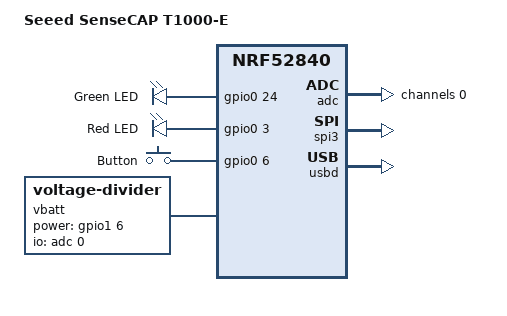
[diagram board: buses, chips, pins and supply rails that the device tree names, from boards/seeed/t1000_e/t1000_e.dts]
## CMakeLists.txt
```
# The nRF52840 port, built with Zephyr: the node every port shares (../node), the portable core
# from the top of the repository, and what is Zephyr's here (src/). See README.md:
#
#   west build -b heltec_t114_v2/nrf52840/uf2 ports/nrf52
cmake_minimum_required(VERSION 3.20.0)
# Boards Zephyr has not got are this port's own, in boards/<vendor>/<board>/ (the T1000-E).
list(APPEND BOARD_ROOT ${CMAKE_CURRENT_SOURCE_DIR})
find_package(Zephyr REQUIRED HINTS $ENV{ZEPHYR_BASE})
project(tern-nrf52 C)

set(root ${CMAKE_CURRENT_SOURCE_DIR}/../..)
set(node ${root}/ports/node)

# The core, file by file, as the top-level CMakeLists.txt lists it.
file(GLOB core ${root}/src/*.c)

target_sources(app PRIVATE
    src/platform.c
    src/board.c
    src/ble.c
    ${node}/node.c
    ${node}/link.c
    ${node}/demo.c
    ${node}/display.c
    ${node}/status.c
    ${node}/ui.c
    ${node}/scene.c
    ${node}/colour.c
    ${node}/fonts.c
    ${node}/qr.c
    ${node}/power.c
    ${node}/crumb.c
    ${node}/doze.c
    ${core})
target_include_directories(app PRIVATE src ${node} ${root}/include)
# The T114's colour panel is drawn by the node itself (../node/colour.h).
target_compile_definitions(app PRIVATE TERN_COLOUR=1)
# Zephyr's adc_read() waits for the SAADC's interrupt with no limit, so one that never comes stops
# the node's loop: a T1000-E's did, overnight, in poll_battery (the watchdog brought it back). A
# reading takes well under a millisecond; this lets it fail after 100 ms instead (board.c).
zephyr_compile_definitions("ADC_CONTEXT_WAIT_FOR_COMPLETION_TIMEOUT=K_MSEC(100)")
# Warnings as the rest of the repository has them, on what is ours (not Zephyr's headers' doing).
target_compile_options(app PRIVATE -Wextra -Wshadow -Wno-unused-parameter -Werror)
```

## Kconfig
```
# The settings a Tern node is built with: those every port shares (../node/Kconfig.tern), and the
# board's names, from the Zephyr board the build is for (release.sh). Everything else about a board
# is its devicetree (src/board.c, boards/).

menu "Tern demo"

    config TERN_BOARD_NAME
        string
        default "heltec-t114" if BOARD_HELTEC_T114_V2
        default "rak4631" if BOARD_RAK4631
        default "wio-tracker-l1" if BOARD_WIO_TRACKER_L1
        default "t1000-e" if BOARD_T1000_E
        help
            The name a client finds an image by: tern-<name>-<region>-<version>.

    config TERN_BOARD_TITLE
        string
        default "Heltec Mesh Node T114" if BOARD_HELTEC_T114_V2
        default "RAKwireless RAK4631" if BOARD_RAK4631
        default "Seeed Wio Tracker L1" if BOARD_WIO_TRACKER_L1
        default "Seeed SenseCAP T1000-E" if BOARD_T1000_E
        help
            The board's name, as its maker sells it.

    config TERN_BUTTON_NAME
        string
        default "USER" if BOARD_HELTEC_T114_V2
        default "KEY" if BOARD_T1000_E
        default "PRG"
        help
            What the board's button is marked, as its user looks for it, at most four
            characters. A board with no button (sw0) has none, whatever this says.

    config TERN_TCXO_MV
        int "The radio's TCXO voltage, in millivolts (0: the board's)"
        default 0
        help
            For trying a board whose TCXO voltage its maker's documents disagree on, such as the
            T1000-E's: the voltage the radio gives its TCXO, 1600, 1700, 1800, 2200, 2400, 2700,
            3000 or 3300, in place of what the board's devicetree says. 0 keeps the
            devicetree's. A voltage above what the TCXO is rated for can harm it, so try the
            lowest first.

    rsource "../node/Kconfig.tern"

endmenu

source "Kconfig.zephyr"
```

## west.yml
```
# The Zephyr this port builds against, and only the modules it needs. With the repository checked
# out as `firmware` in an empty directory:
#
#   west init -l --mf ports/nrf52/west.yml firmware
#   west update
#
# Zephyr is a commit on main, not a release: the Heltec T114 V2's board came after v4.4's branch.
# It moves to v4.5 once that is released.
manifest:
  remotes:
    - name: zephyrproject-rtos
      url-base: https://github.com/zephyrproject-rtos
  projects:
    - name: zephyr
      remote: zephyrproject-rtos
      revision: 64437be51c302e42003b3b1dcbf45c8ad7fd1f08
      import:
        name-allowlist:
          - cmsis_6
          - hal_nordic
          - mbedtls
          - tf-psa-crypto
  self:
    path: firmware
```

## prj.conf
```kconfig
# What the node needs of Zephyr on an nRF52840.

# The node's loop runs in main(): a handshake's arithmetic needs more stack than most
# (tern/contact.h), and 'selftest' says how much is left.
CONFIG_MAIN_STACK_SIZE=16384
CONFIG_THREAD_STACK_INFO=y
CONFIG_INIT_STACKS=y
CONFIG_SPEED_OPTIMIZATIONS=y
CONFIG_PICOLIBC_IO_LONG_LONG=y

# The board: the radio's SPI bus and lines, the screen, the battery's ADC.
CONFIG_GPIO=y
CONFIG_SPI=y
CONFIG_ADC=y
CONFIG_DISPLAY=y
CONFIG_LORA=n

# The console, and the companion link a computer drives over it, are USB CDC ACM (the board's
# default). Nothing else writes to it: Zephyr's own log would land in the companion's stream.
CONFIG_SERIAL=y
CONFIG_UART_LINE_CTRL=y
CONFIG_LOG=n

# What the node saves: Zephyr's settings, on NVS, in the storage partition.
CONFIG_FLASH=y
CONFIG_FLASH_MAP=y
CONFIG_FLASH_PAGE_LAYOUT=y
CONFIG_NVS=y
CONFIG_SETTINGS=y
CONFIG_SETTINGS_NVS=y

# Keys from the chip's true generator.
CONFIG_ENTROPY_GENERATOR=y

CONFIG_REBOOT=y

# The chip's watchdog on the node's loop (src/platform.c): a loop that stops restarts the board.
CONFIG_WATCHDOG=y
CONFIG_POWEROFF=y

# The companion link over Bluetooth LE (src/ble.c): one peripheral connection, frames of up to 180
# bytes in one notification, and only LE Secure Connections pairing with a passkey the node shows,
# its bonds kept in the settings.
CONFIG_BT=y
CONFIG_BT_PERIPHERAL=y
CONFIG_BT_DEVICE_NAME="Tern"
CONFIG_BT_DEVICE_NAME_DYNAMIC=y
# A card's name cut to what a scan response holds (ble.h's BLE_NAME_MAX).
CONFIG_BT_DEVICE_NAME_MAX=29
CONFIG_BT_MAX_CONN=1
CONFIG_BT_MAX_PAIRED=8
CONFIG_BT_SMP=y
CONFIG_BT_SMP_SC_ONLY=y
CONFIG_BT_BONDABLE=y
CONFIG_BT_APP_PASSKEY=y
CONFIG_BT_SETTINGS=y
CONFIG_BT_L2CAP_TX_MTU=247
CONFIG_BT_BUF_ACL_RX_SIZE=251
CONFIG_BT_BUF_ACL_TX_SIZE=251
CONFIG_BT_BUF_ACL_TX_COUNT=10
CONFIG_BT_BUF_EVT_RX_COUNT=12
CONFIG_BT_CTLR_DATA_LENGTH_MAX=251
CONFIG_BT_ATT_PREPARE_COUNT=0
# The thread that takes what the controller hears finishes a pairing, and LE Secure Connections'
# keys are worked out there with PSA's crypto: up to 1344 bytes of stack on a T114, measured, where
# Zephyr gives it 1200. With that, every pairing overflowed it and the board stopped dead.
CONFIG_BT_RX_STACK_SIZE=2048

# A relay's table of RELAY_PLACES destinations (the specification's routing draft): 48 KB of the
# nRF52840's 256. Built with it, the RAK4631 uses 204 KB (78%).
CONFIG_TERN_DESTINATIONS=1024

# The sessions, contacts, groups and cards it holds (ports/node/capacity.h): about 20 KB of RAM
# more than the smallest board's, and what its 32 KB storage partition keeps beside the messages.
CONFIG_TERN_SESSIONS=16
CONFIG_TERN_CONTACTS=32
CONFIG_TERN_GROUPS=8
CONFIG_TERN_CARDS=64
# How messages went, for the latest 32 (ROUTE): 640 bytes.
CONFIG_TERN_ROUTES=32
```

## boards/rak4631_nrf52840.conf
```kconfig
# The RAK4631's UF2 bootloader takes an image at the code partition the overlay lays out, and its
# console is USB CDC ACM, as on the boards whose Zephyr board says so itself.
CONFIG_BUILD_OUTPUT_UF2=y
CONFIG_USE_DT_CODE_PARTITION=y
CONFIG_USB_DEVICE_STACK_NEXT=y
CONFIG_USBD_CDC_ACM_CLASS=y
CONFIG_CDC_ACM_SERIAL_INITIALIZE_AT_BOOT=y
CONFIG_UART_CONSOLE=y
CONFIG_USE_SEGGER_RTT=n
```

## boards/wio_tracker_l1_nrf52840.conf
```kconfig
# The Wio Tracker L1's screen is on I2C.
CONFIG_I2C=y
```

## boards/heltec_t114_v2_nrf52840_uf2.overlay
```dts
/*
 * The T114 for this port. Its radio is driven by Tern's own SX1262 driver (src/sx126x.c), over
 * the bus and lines Zephyr's board gives it, so Zephyr's LoRa driver is not built. Its screen is
 * initialised once board_screen_init() has powered it (TFT_EN), not at boot.
 */

/ {
	/* The board's switches for the screen, its backlight, Vext and the battery's divider have
	 * no binding of their own; this one's makes their lines readable as GPIOs. No LED driver is
	 * built, so nothing else takes them. */
	board_controls {
		compatible = "gpio-leds";
	};

	/* The battery through 390k over 100k onto AIN2, behind a switch P0.06 turns on (Heltec's
	 * schematic, MeshNode-T114_V2.1), which Zephyr's board gives only as adc-control. */
	vbatt: vbatt {
		compatible = "voltage-divider";
		io-channels = <&adc 2>;
		output-ohms = <100000>;
		full-ohms = <490000>;
		power-gpios = <&gpio0 6 GPIO_ACTIVE_HIGH>;
	};
};

&lora {
	status = "disabled";
	/* The datasheet's 16 MHz, halved, as on the ESP32 boards. */
	spi-max-frequency = <8000000>;
};

&tft_display {
	zephyr,deferred-init;
};
```

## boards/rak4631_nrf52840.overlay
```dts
/*
 * The RAKwireless RAK4631, on a RAK19007 or RAK19003 base board, for this port. Zephyr's board for
 * it is laid out for MCUboot over SWD; the RAK4631 ships with Adafruit's UF2 bootloader over
 * SoftDevice S140 6.1.1 (RAKWireless/WisBlock, bootloader/RAK4630), so this lays the image out
 * for that, at 0x26000, with its console on USB. Where RAK's documents and Zephyr's board differ,
 * RAK's are taken:
 *
 *  - The antenna switch is powered from P1.05 (RAK4631 datasheet, "ANT_SW P1.05 - SX1262 RF switch
 *    power"; RAK's own Zephyr overlay drives it high), and DIO2 switches it between sending and
 *    receiving: on while the radio is, rather than Zephyr's rx-enable, low.
 *  - Its TCXO is set to 1.8 V from DIO3, as RAK's own patch for the board sets it
 *    (RAK4630-Amazon-Sidewalk-Example); the SX1262 runs from 3.3 V, below which DIO3 must be.
 *  - Its LEDs, green on P1.03 and blue on P1.04, light when high (RAK's bootloader, board.h,
 *    LED_STATE_ON 1).
 *
 * The base boards have no user button, only RESET. The battery is on WisBlock's AIN0, P0.05/AIN3,
 * through 1M over 1.5M with no switch (RAK4631 datasheet's schematic; Zephyr's RAK19007 shield).
 * Its radio is driven by Tern's own SX1262 driver (src/sx126x.c), so Zephyr's LoRa driver is not
 * built.
 */

/* Zephyr's board's MCUboot layout, out, and the UF2 bootloader's in. */
&flash0 {
	/delete-node/ partitions;
};

#include <nordic/nrf52840_partition_uf2_sdv6.dtsi>
#include <../boards/common/usb/cdc_acm_serial.dtsi>

&lora {
	status = "disabled";
	/delete-property/ rx-enable-gpios;
	antenna-enable-gpios = <&gpio1 5 GPIO_ACTIVE_HIGH>;
	dio3-tcxo-voltage = <SX126X_DIO3_TCXO_1V8>;
};

&green_led {
	gpios = <&gpio1 3 GPIO_ACTIVE_HIGH>;
};

&blue_led {
	gpios = <&gpio1 4 GPIO_ACTIVE_HIGH>;
};

/ {
	aliases {
		led0 = &green_led;
	};

	vbatt: vbatt {
		compatible = "voltage-divider";
		io-channels = <&adc 3>;
		output-ohms = <1500000>;
		full-ohms = <2500000>;
	};
};

&adc {
	#address-cells = <1>;
	#size-cells = <0>;

	channel@3 {
		reg = <3>;
		zephyr,gain = "ADC_GAIN_1_6";
		zephyr,reference = "ADC_REF_INTERNAL";
		/* The divider is megohms: the longest acquisition the SAADC has, for its sampling
		 * capacitor to charge through them. */
		zephyr,acquisition-time = <ADC_ACQ_TIME(ADC_ACQ_TIME_MICROSECONDS, 40)>;
		zephyr,input-positive = <NRF_SAADC_AIN3>;
		zephyr,resolution = <12>;
	};
};
```

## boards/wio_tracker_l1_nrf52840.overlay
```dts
/*
 * The Seeed Wio Tracker L1 for this port, over Zephyr's board for it (wio_tracker_l1): its radio
 * is driven by Tern's own SX1262 driver (src/sx126x.c), so Zephyr's LoRa driver is not built.
 * Everything else the node uses is Zephyr's board as it is, which agrees with Seeed's schematic
 * (Wio_Tracker_L1_Pro_SCH, v1.3) where that says: the radio's lines; the menu button on P0.08 (sw0);
 * the LED on P1.01 (led0); the 128x64 screen at 0x3D on I2C (zephyr,display), an SH1106 by
 * Zephyr's board, which Seeed's documents do not name; and the battery through an even divider
 * onto AIN7, behind a switch P0.04 turns on (vbatt). The module's RF_SW line, P1.08, has no level
 * in Seeed's documents; it is driven as Zephyr's board has it, high while receiving.
 *
 * The L1 Lite is the same board without a screen, and runs this image without one.
 */

&lora {
	status = "disabled";
};
```

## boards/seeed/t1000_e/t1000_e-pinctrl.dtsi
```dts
/* The LR1110's SPI bus: SCK P0.11, MOSI P1.09, MISO P1.08 (Seeed's SDK, smtc_hal_config.h, and
 * its Arduino core's variant, which agree). */

&pinctrl {
	spi3_default: spi3_default {
		group1 {
			psels = <NRF_PSEL(SPIM_SCK, 0, 11)>,
				<NRF_PSEL(SPIM_MOSI, 1, 9)>,
				<NRF_PSEL(SPIM_MISO, 1, 8)>;
		};
	};

	spi3_sleep: spi3_sleep {
		group1 {
			psels = <NRF_PSEL(SPIM_SCK, 0, 11)>,
				<NRF_PSEL(SPIM_MOSI, 1, 9)>,
				<NRF_PSEL(SPIM_MISO, 1, 8)>;
			low-power-enable;
		};
	};
};
```

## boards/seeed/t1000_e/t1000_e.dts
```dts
/*
 * The Seeed SenseCAP T1000-E, a Zephyr board of this port's own, since Zephyr has none. Seeed
 * publishes no schematic; everything here is from two Seeed sources, which agree on every pin:
 *
 *   SDK   Seeed-Tracker-T1000-E-for-LoRaWAN-dev-board: smtc_hal/inc/smtc_hal_config.h for the
 *         pins, t1000_e/LR11XX/smtc_shield_lr11xx/common/src/smtc_shield_lr11x0_common.c for the
 *         radio's antenna switch, TCXO and regulator, t1000_e/peripherals/src/sensor.c and
 *         smtc_hal/src/smtc_hal_adc.c for the battery
 *   core  Seeed's Adafruit_nRF52_Arduino, variants/Seeed_Tracker_T1000_E_LoRaWAN, and boards.txt
 *         for its bootloader
 *
 * The radio is an LR1110 on SPI (SCK P0.11, MOSI P1.09, MISO P1.08, NSS P0.12), with BUSY on
 * P0.07, NRESET on P1.10 and DIO9 on P1.01. It is driven by Tern's own driver (src/lr11xx.c), so
 * the node is disabled for Zephyr, which has no LR1110 driver anyway.
 *
 *  - Antenna switch: DIO5 to DIO8, as the SDK sets SetDioAsRfSwitch: DIO5 and DIO8 to receive,
 *    DIO5, DIO6 and DIO8 to send from the low-power amplifier, DIO6 and DIO8 from the high-power
 *    one, none in standby. DIO7 is the GNSS path's, held low here since that is not driven.
 *  - TCXO: 1.8 V from VTCXO. Seeed's three sources disagree: its wiki says 1.6 V, its Arduino core
 *    1.8 V, its SDK 3.0 V. 1.8 V was tried first, as the lower of the two from code, and settled it
 *    on a board (16 November 2026): first contact and messages both ways with a Heltec T114, each
 *    acknowledged the first time, at 10 to 14 dB SNR. CONFIG_TERN_TCXO_MV tries another (Kconfig).
 *  - The DC-DC regulator, and both amplifiers: the SDK's power table goes from -17 dBm on the
 *    low-power one to +22 dBm on the high-power one.
 *
 * The button is on P0.06, high when pressed ("must be configured as input_pulldown", core); the
 * LEDs, green P0.24 and red P0.03, light when high (core, LED_STATE_ON 1). The battery is on AIN0
 * (P0.02) through an even divider (the SDK doubles what it reads) that P1.06 powers, high on, with
 * the light and temperature sensors.
 *
 * Not driven yet: the AG3335 satellite receiver (UART P0.13/P0.14, power P1.11), the
 * accelerometer, the buzzer, and the QSPI flash.
 */

/dts-v1/;
#include <nordic/nrf52840_qiaa.dtsi>
#include <nordic/nrf52840_partition_uf2_sdv7.dtsi>
#include <zephyr/dt-bindings/input/input-event-codes.h>
#include "t1000_e-pinctrl.dtsi"

/ {
	model = "Seeed SenseCAP T1000-E";
	compatible = "seeed,t1000-e";

	aliases {
		led0 = &green_led;
		led1 = &red_led;
		sw0 = &button0;
	};

	leds {
		compatible = "gpio-leds";

		green_led: led_0 {
			gpios = <&gpio0 24 GPIO_ACTIVE_HIGH>;
			label = "Green LED";
		};

		red_led: led_1 {
			gpios = <&gpio0 3 GPIO_ACTIVE_HIGH>;
			label = "Red LED";
		};
	};

	buttons {
		compatible = "gpio-keys";

		button0: button_0 {
			gpios = <&gpio0 6 (GPIO_ACTIVE_HIGH | GPIO_PULL_DOWN)>;
			label = "Button";
			zephyr,code = <INPUT_KEY_0>;
		};
	};

	vbatt: vbatt {
		compatible = "voltage-divider";
		io-channels = <&adc 0>;
		/* Even, as the SDK reads it; its resistors are not published, only that ratio. */
		output-ohms = <1>;
		full-ohms = <2>;
		power-gpios = <&gpio1 6 GPIO_ACTIVE_HIGH>;
	};
};

&gpiote {
	status = "okay";
};

&gpio0 {
	status = "okay";
};

&gpio1 {
	status = "okay";
};

&adc {
	status = "okay";
	#address-cells = <1>;
	#size-cells = <0>;

	channel@0 {
		reg = <0>;
		/* As the SDK sets it: a gain of 1/5 on the 0.6 V reference, 3 V full scale, and 40 us to
		 * sample through the divider. */
		zephyr,gain = "ADC_GAIN_1_5";
		zephyr,reference = "ADC_REF_INTERNAL";
		zephyr,acquisition-time = <ADC_ACQ_TIME(ADC_ACQ_TIME_MICROSECONDS, 40)>;
		zephyr,input-positive = <NRF_SAADC_AIN0>;
		zephyr,resolution = <12>;
	};
};

&spi3 {
	compatible = "nordic,nrf-spim";
	status = "okay";
	cs-gpios = <&gpio0 12 GPIO_ACTIVE_LOW>;
	pinctrl-0 = <&spi3_default>;
	pinctrl-1 = <&spi3_sleep>;
	pinctrl-names = "default", "sleep";

	lora: lora@0 {
		compatible = "semtech,lr1110";
		status = "disabled";
		reg = <0>;
		spi-max-frequency = <DT_FREQ_M(8)>;
		reset-gpios = <&gpio1 10 GPIO_ACTIVE_LOW>;
		busy-gpios = <&gpio0 7 GPIO_ACTIVE_HIGH>;
		irq-gpios = <&gpio1 1 GPIO_ACTIVE_HIGH>;
		lf-clk = "XTAL";
		tcxo-voltage = <1800>;
		use-dcdc;
		hp-pa;
		/* Bits 0 to 3 are DIO5 to DIO8. */
		rfsw-enable = <0x0f>;
		rfsw-standby = <0x00>;
		rfsw-rx = <0x09>;
		rfsw-tx = <0x0b>;
		rfsw-tx-hp = <0x0a>;
	};
};

zephyr_udc0: &usbd {
	status = "okay";
};

#include <../boards/common/usb/cdc_acm_serial.dtsi>
```

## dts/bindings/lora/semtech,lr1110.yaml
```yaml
# The LR1110, as this port reads it (src/board.c): Zephyr's properties for the LR11xx family, which
# it has only for the LR1121, and whether the antenna is reached from the high-power amplifier.
# Zephyr has no driver for the LR1110; Tern's own (src/lr11xx.c) drives it.

title: Semtech LR1110 LoRa transceiver, with GNSS and Wi-Fi scanners

description: |
  Semtech LR1110. Only its sub-GHz LoRa modem is driven, by Tern's driver.

compatible: "semtech,lr1110"

include: semtech,lr11xx-base.yaml

properties:
  reset-gpios:
    required: true
  busy-gpios:
    required: true

  hp-pa:
    type: boolean
    description: |
      The antenna is reached from the high-power amplifier as well as the low-power one, so the
      radio sends from -17 to +22 dBm. Without it, only the low-power one: -17 to +14 dBm.
```

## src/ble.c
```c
#include "ble.h"

#include <stdio.h>
#include <string.h>

#include <zephyr/bluetooth/bluetooth.h>
#include <zephyr/bluetooth/conn.h>
#include <zephyr/bluetooth/gatt.h>
#include <zephyr/bluetooth/hci.h>
#include <zephyr/bluetooth/uuid.h>
#include <zephyr/kernel.h>
#include <zephyr/random/random.h>
#include <zephyr/settings/settings.h>

/* The companion link over Bluetooth LE on Zephyr's host and the nRF52840's controller: the same
 * service, pairing and frames as the ESP32's over NimBLE (../../esp32/main/ble.c), which
 * draft/companion.md, "Bluetooth LE", defines. Zephyr reports from its own threads; what it
 * reports is queued for the loop's ble_poll(), so link.c is only ever called from the loop. */

/* The draft's UUIDs, least significant byte first. */
#define TERN_UUID(n)                                                                               \
    BT_UUID_INIT_128(0x40, 0xff, 0x50, 0xdd, 0x41, 0x17, 0x9b, 0x88, 0x1c, 0x4c, 0x17, 0xeb, (n),  \
                     0x00, 0x28, 0x7a)

static const struct bt_uuid_128 service_uuid = TERN_UUID(0x01);
static const struct bt_uuid_128 to_node_uuid = TERN_UUID(0x02);
static const struct bt_uuid_128 from_node_uuid = TERN_UUID(0x03);

#define EVENTS 8
/* Frames waiting for a buffer: more than the largest sync (link.h). */
#define WAITING 128

K_MSGQ_DEFINE(events, sizeof(struct ble_event), EVENTS, 4);

/* The client's connection, taken and let go of in Zephyr's threads; the loop takes a reference of
 * its own under `conn_lock` before using it (connection()). */
static struct bt_conn *conn;
static struct k_spinlock conn_lock;
static volatile uint32_t gen;    /* counts connections; the present one's */
static volatile bool paired;     /* the client on `conn` paired with a passkey */
static volatile bool subscribed; /* and asked for notifications */
static volatile uint32_t passkey_setting;
static volatile uint32_t shown_passkey; /* this pairing's, if the node chose it */
static volatile bool pairable;          /* a passkey that is not shown may be paired with now */
static bool have_screen;

static void post(const struct ble_event *e) {
    if (k_msgq_put(&events, e, K_NO_WAIT) != 0) {
        printf("bluetooth: an event was lost\n");
    }
}

static void post_kind(enum ble_event_kind kind, uint16_t mtu, uint32_t passkey) {
    struct ble_event e = {.kind = kind, .gen = gen, .mtu = mtu, .passkey = passkey};
    post(&e);
}

/* The loop's side: the connection the link has open, and the frames waiting to go to it. */
static uint32_t open_gen; /* 0: none */
static struct {
    uint8_t len;
    uint8_t frame[TERN_COMPANION_MAX_FRAME];
} waiting[WAITING];
static size_t first, n_waiting;

/* A client's write to the node: one frame. The characteristic asks for an encrypted link made by
 * LE Secure Connections with a passkey, which Zephyr enforces; it is refused whole if it is longer
 * than a frame, or comes in parts. */
static ssize_t on_write(struct bt_conn *c, const struct bt_gatt_attr *attr, const void *buf,
                        uint16_t len, uint16_t offset, uint8_t flags) {
    (void)attr;
    (void)flags;
    if (c != conn || !paired) {
        return BT_GATT_ERR(BT_ATT_ERR_AUTHENTICATION);
    }
    if (offset != 0) {
        return BT_GATT_ERR(BT_ATT_ERR_INVALID_OFFSET);
    }
    struct ble_event e = {.kind = BLE_FRAME, .gen = gen};
    if (len > sizeof e.frame) {
        return BT_GATT_ERR(BT_ATT_ERR_INVALID_ATTRIBUTE_LEN);
    }
    memcpy(e.frame, buf, len);
    e.len = len;
    post(&e);
    return len;
}

static void on_ccc(const struct bt_gatt_attr *attr, uint16_t value) {
    (void)attr;
    subscribed = value == BT_GATT_CCC_NOTIFY;
}

BT_GATT_SERVICE_DEFINE(tern_service, BT_GATT_PRIMARY_SERVICE(&service_uuid),
                       BT_GATT_CHARACTERISTIC(&to_node_uuid.uuid, BT_GATT_CHRC_WRITE,
                                              BT_GATT_PERM_WRITE_LESC, NULL, on_write, NULL),
                       BT_GATT_CHARACTERISTIC(&from_node_uuid.uuid, BT_GATT_CHRC_NOTIFY,
                                              BT_GATT_PERM_NONE, NULL, NULL, NULL),
                       BT_GATT_CCC(on_ccc, BT_GATT_PERM_READ | BT_GATT_PERM_WRITE_LESC));

/* The value attribute of from_node: the service's declaration, to_node's two, then its own. */
#define FROM_NODE_ATTR (&tern_service.attrs[4])

static const struct bt_data ad[] = {
    BT_DATA_BYTES(BT_DATA_FLAGS, (BT_LE_AD_GENERAL | BT_LE_AD_NO_BREDR)),
    BT_DATA(BT_DATA_UUID128_ALL, service_uuid.val, sizeof service_uuid.val),
};
/* What the scan response names the node: the name Zephyr keeps, which ble_start() and
 * ble_rename() set (ble.h). */
static void name_data(struct bt_data *sd) {
    const char *name = bt_get_name();
    *sd = (struct bt_data){.type = BT_DATA_NAME_COMPLETE,
                           .data_len = (uint8_t)strlen(name),
                           .data = (const uint8_t *)name};
}

static void advertise(void) {
    struct bt_data sd[1];
    name_data(&sd[0]);
    int err = bt_le_adv_start(BT_LE_ADV_CONN_FAST_2, ad, ARRAY_SIZE(ad), sd, ARRAY_SIZE(sd));
    if (err != 0 && err != -EALREADY) {
        printf("bluetooth: could not advertise (%d)\n", err);
    }
}

static void on_connected(struct bt_conn *c, uint8_t err) {
    if (err != 0) {
        return;
    }
    k_spinlock_key_t key = k_spin_lock(&conn_lock);
    conn = bt_conn_ref(c);
    k_spin_unlock(&conn_lock, key);
    paired = subscribed = false;
    gen++;
    /* Ask for the pairing at once; a client that has a bond restores it instead. */
    if (bt_conn_set_security(c, BT_SECURITY_L4) != 0) {
        bt_conn_disconnect(c, BT_HCI_ERR_AUTH_FAIL);
    }
}

static void on_disconnected(struct bt_conn *c, uint8_t reason) {
    (void)reason;
    if (c != conn) {
        return;
    }
    if (paired) {
        post_kind(BLE_CLOSE, 0, 0);
    }
    paired = subscribed = false;
    k_spinlock_key_t key = k_spin_lock(&conn_lock);
    struct bt_conn *gone = conn;
    conn = NULL;
    k_spin_unlock(&conn_lock, key);
    bt_conn_unref(gone);
}

/* The controller frees its connection after the disconnection is reported: advertising again then,
 * with the one connection there is to give. */
static volatile bool stopped; /* ble_stop(): never advertise again */
static void on_recycled(void) {
    if (!stopped) {
        advertise();
    }
}

static void on_security(struct bt_conn *c, bt_security_t level, enum bt_security_err err) {
    if (c != conn) {
        return;
    }
    post_kind(BLE_PAIRED, 0, 0);
    struct bt_conn_info info;
    /* Encrypted by a key from LE Secure Connections with a passkey, at full length: anything less
     * is not a client that may drive the node. */
    if (err != BT_SECURITY_ERR_SUCCESS || level < BT_SECURITY_L4 ||
        bt_conn_get_info(c, &info) != 0 || info.security.enc_key_size < 16) {
        printf("bluetooth: a link without passkey pairing; dropped\n");
        bt_conn_disconnect(c, BT_HCI_ERR_AUTH_FAIL);
        return;
    }
    if (!paired) {
        paired = true;
        post_kind(BLE_OPEN, bt_gatt_get_mtu(c), 0);
    }
}

BT_CONN_CB_DEFINE(conn_callbacks) = {
    .connected = on_connected,
    .disconnected = on_disconnected,
    .recycled = on_recycled,
    .security_changed = on_security,
};

static void on_mtu(struct bt_conn *c, uint16_t tx, uint16_t rx) {
    (void)rx;
    if (c == conn && paired) {
        post_kind(BLE_MTU, tx, 0);
    }
}

static struct bt_gatt_cb gatt_callbacks = {.att_mtu_updated = on_mtu};

/* 32 bits from the chip's true generator, if it gave them. */
static bool csrand32(void *ctx, uint32_t *r) {
    (void)ctx;
    return sys_csrand_get(r, sizeof *r) == 0;
}

/* Out of a passkey's range, and not BT_PASSKEY_RAND: Zephyr fails the pairing on it (smp.c,
 * display_passkey()) without showing anything or drawing a passkey of its own. */
#define PASSKEY_REFUSED 1000000u

/* The passkey for this pairing: the one set, or a new one to show on the screen. If the generator
 * gives none, none is made up: the pairing is refused, and the client may try again. */
static uint32_t app_passkey(struct bt_conn *c) {
    (void)c;
    uint32_t key = passkey_setting;
    shown_passkey = BLE_PASSKEY_RANDOM;
    if (key == BLE_PASSKEY_RANDOM) {
        if (!ble_passkey_draw(csrand32, NULL, &key)) {
            printf("bluetooth: no random numbers for a passkey: not pairing\n");
            return PASSKEY_REFUSED;
        }
        shown_passkey = key;
    }
    return key;
}

/* Only the node shows a passkey, and the client types it: Zephyr pairs as a display with no
 * keyboard, which with LE Secure Connections only is protection against a man in the middle. */
static void passkey_display(struct bt_conn *c, unsigned int passkey) {
    if (passkey == PASSKEY_REFUSED) {
        bt_conn_auth_cancel(c); /* no random numbers for one (app_passkey()), window or not */
        return;
    }
    if (shown_passkey == BLE_PASSKEY_RANDOM) {
        /* The one set, which the user knows: taken only while someone may be at the node. */
        if (!pairable) {
            printf("bluetooth: a pairing outside the pairing window, refused. Press the button, "
                   "or turn the board off and on, and pair within three minutes.\n");
            bt_conn_auth_cancel(c);
        }
        return;
    }
    if (!have_screen) {
        printf("bluetooth: no passkey set and no screen to show one: not pairing. Set one over "
               "USB.\n");
        bt_conn_auth_cancel(c);
        return;
    }
    post_kind(BLE_PASSKEY, 0, passkey);
}

static void auth_cancel(struct bt_conn *c) { (void)c; }

static const struct bt_conn_auth_cb auth_callbacks = {
    .app_passkey = app_passkey,
    .passkey_display = passkey_display,
    .cancel = auth_cancel,
};

bool ble_start(const char *name, uint32_t passkey, bool screen) {
    passkey_setting = passkey;
    have_screen = screen;
    if (bt_enable(NULL) != 0) {
        return false;
    }
    (void)settings_load_subtree("bt");
    /* After the settings, which keep the name the last start set: the GAP service's, for a client
     * that reads it once connected. */
    if (bt_set_name(name) != 0) {
        printf("bluetooth: could not set the name\n");
    }
    if (bt_conn_auth_cb_register(&auth_callbacks) != 0) {
        bt_disable();
        return false;
    }
    bt_gatt_cb_register(&gatt_callbacks);
    advertise();
    return true;
}

void ble_passkey(uint32_t passkey) { passkey_setting = passkey; }

void ble_pairable(bool yes) { pairable = yes; }

void ble_rename(const char *name) {
    if (bt_set_name(name) != 0) {
        printf("bluetooth: could not set the name\n");
        return;
    }
    /* Not advertising, with a client connected, is not a failure: the next advertisement has it. */
    struct bt_data sd[1];
    name_data(&sd[0]);
    (void)bt_le_adv_update_data(ad, ARRAY_SIZE(ad), sd, ARRAY_SIZE(sd));
}

const char *ble_advertised(void) { return bt_get_name(); }

/* The client's connection with a reference the caller holds and lets go of (bt_conn_unref()), so
 * that a disconnection in Zephyr's thread cannot free it while the loop uses it; or NULL. */
static struct bt_conn *connection(void) {
    k_spinlock_key_t key = k_spin_lock(&conn_lock);
    struct bt_conn *c = conn != NULL ? bt_conn_ref(conn) : NULL;
    k_spin_unlock(&conn_lock, key);
    return c;
}

/* Sends what is waiting, oldest first, until Zephyr is out of buffers; the rest goes on a later
 * call. What was queued for a connection that has since gone is dropped. */
static void pump(void) {
    if (open_gen == 0 || open_gen != gen) {
        n_waiting = 0;
        return;
    }
    struct bt_conn *c = connection();
    if (c == NULL) {
        return;
    }
    while (n_waiting > 0 && paired && subscribed) {
        int err = bt_gatt_notify(c, FROM_NODE_ATTR, waiting[first].frame, waiting[first].len);
        if (err == -ENOMEM || err == -EAGAIN || err == -ENOBUFS) {
            break;
        }
        if (err != 0) {
            printf("bluetooth: a frame to the client was lost (%d)\n", err);
        }
        first = (first + 1) % WAITING;
        n_waiting--;
    }
    bt_conn_unref(c);
}

bool ble_poll(struct ble_event *e) {
    pump();
    while (k_msgq_get(&events, e, K_NO_WAIT) == 0) {
        if (e->kind == BLE_OPEN) {
            open_gen = e->gen;
            n_waiting = 0;
            return true;
        }
        if (e->gen != open_gen) {
            /* From a connection the link no longer has: a frame written just before it went, or
             * a passkey for one that is pairing, which is the present connection's. */
            if (e->kind != BLE_PASSKEY && e->kind != BLE_PAIRED) {
                continue;
            }
            return true;
        }
        if (e->kind == BLE_CLOSE) {
            open_gen = 0;
            n_waiting = 0;
        }
        return true;
    }
    return false;
}

void ble_send(const uint8_t *frame, size_t len) {
    if (open_gen == 0 || len > TERN_COMPANION_MAX_FRAME) {
        return;
    }
    if (n_waiting == WAITING) {
        printf("bluetooth: too many frames waiting; one to the client was lost\n");
        return;
    }
    size_t i = (first + n_waiting) % WAITING;
    memcpy(waiting[i].frame, frame, len);
    waiting[i].len = (uint8_t)len;
    n_waiting++;
    pump();
}

bool ble_flush(uint32_t ms) {
    for (uint32_t waited = 0;; waited += 10) {
        pump();
        if (n_waiting == 0 || waited >= ms) {
            return n_waiting == 0;
        }
        k_msleep(10);
    }
}

/* bt_unpair() with any address forgets every bond, and drops the client connected. */
void ble_stop(void) {
    stopped = true;
    (void)bt_le_adv_stop();
    k_spinlock_key_t key = k_spin_lock(&conn_lock);
    struct bt_conn *c = conn != NULL ? bt_conn_ref(conn) : NULL;
    k_spin_unlock(&conn_lock, key);
    if (c != NULL) {
        (void)bt_conn_disconnect(c, BT_HCI_ERR_REMOTE_POWER_OFF);
        bt_conn_unref(c);
        k_msleep(200); /* the client is told, before the controller goes */
    }
    (void)bt_le_adv_stop(); /* in case the disconnection advertised again first */
    (void)bt_disable();
}

void ble_forget(void) { (void)bt_unpair(BT_ID_DEFAULT, BT_ADDR_LE_ANY); }

static void count_bond(const struct bt_bond_info *info, void *n) {
    (void)info;
    (*(unsigned *)n)++;
}

unsigned ble_paired(void) {
    unsigned n = 0;
    bt_foreach_bond(BT_ID_DEFAULT, count_bond, &n);
    return n;
}
```
